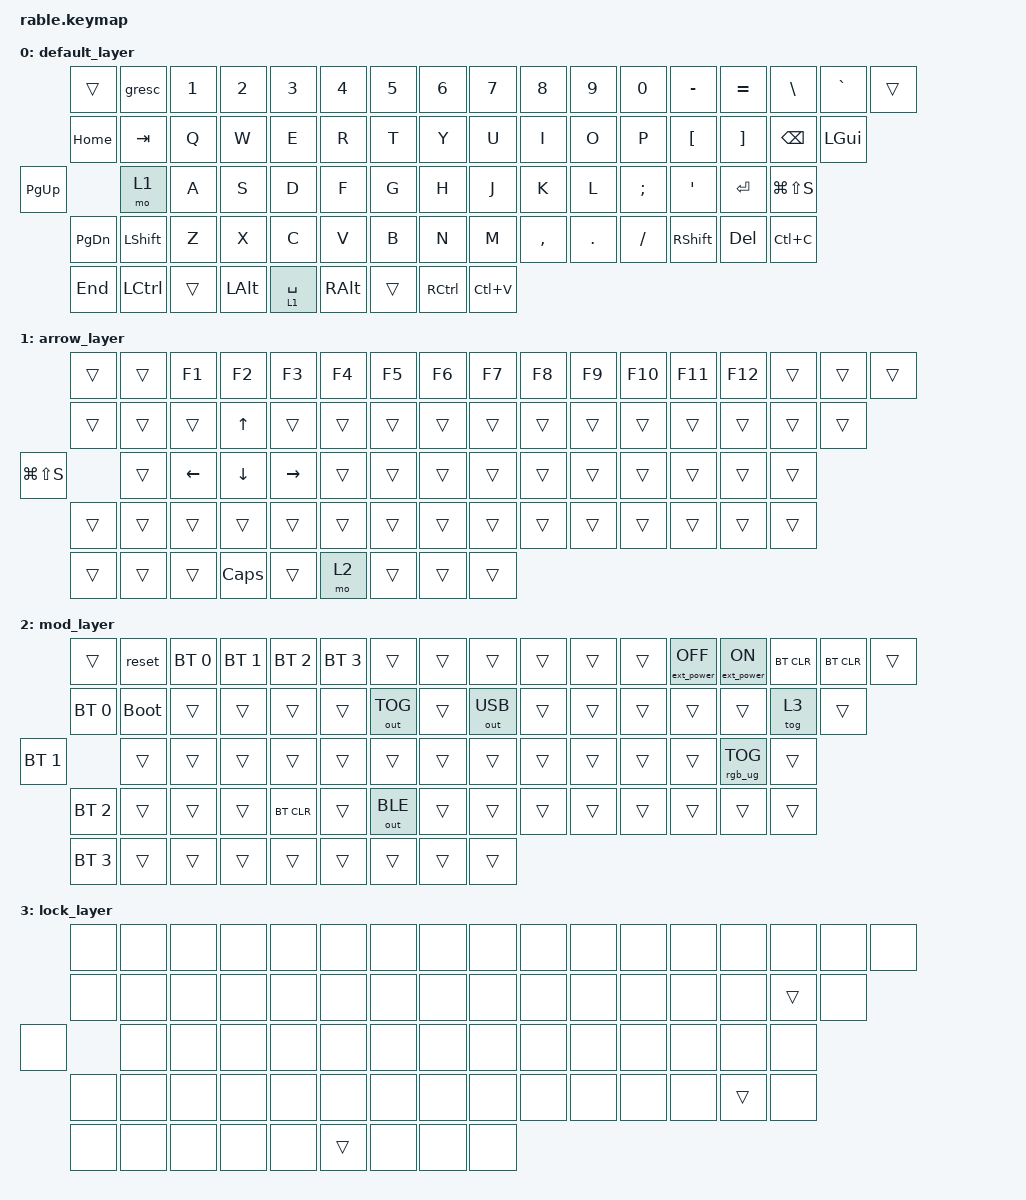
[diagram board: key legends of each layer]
/*
 * Copyright (c) 2021 Nick Winans
 *
 * SPDX-License-Identifier: MIT
 */

#include <behaviors.dtsi>
#include <dt-bindings/zmk/keys.h>
#include <dt-bindings/zmk/bt.h>
#include <dt-bindings/zmk/ext_power.h>
#include <dt-bindings/zmk/outputs.h>
#include <dt-bindings/zmk/rgb.h>

/ {
    keymap {
        compatible = "zmk,keymap";

        default_layer {
            bindings = <
       &trans     &gresc  &kp N1        &kp N2       &kp N3         &kp N4  &kp N5     &kp N6     &kp N7     &kp N8   &kp N9    &kp N0  &kp MINUS   &kp EQUAL  &kp BACKSLASH     &kp GRAVE  &trans
     &kp HOME    &kp TAB   &kp Q         &kp W        &kp E          &kp R   &kp T      &kp Y      &kp U      &kp I    &kp O     &kp P   &kp LBKT    &kp RBKT  &kp BACKSPACE  &kp LEFT_GUI
  &kp PAGE_UP      &mo 1   &kp A         &kp S        &kp D          &kp F   &kp G      &kp H      &kp J      &kp K    &kp L  &kp SEMI    &kp SQT     &kp RET  &kp LG(LS(S))
&kp PAGE_DOWN  &kp LSHFT   &kp Z         &kp X        &kp C          &kp V   &kp B      &kp N      &kp M  &kp COMMA  &kp DOT  &kp FSLH  &kp RSHFT  &kp DELETE      &kp LC(C)
      &kp END  &kp LCTRL  &trans  &kp LEFT_ALT  &lt 1 SPACE  &kp RIGHT_ALT  &trans  &kp RCTRL  &kp LC(V)
            >;
        };

        arrow_layer {
            bindings = <
       &trans  &trans          &kp F1          &kp F2           &kp F3  &kp F4  &kp F5  &kp F6  &kp F7  &kp F8  &kp F9  &kp F10  &kp F11  &kp F12  &trans  &trans  &trans
       &trans  &trans          &trans    &kp UP_ARROW           &trans  &trans  &trans  &trans  &trans  &trans  &trans   &trans   &trans   &trans  &trans  &trans
&kp LG(LS(S))  &trans  &kp LEFT_ARROW  &kp DOWN_ARROW  &kp RIGHT_ARROW  &trans  &trans  &trans  &trans  &trans  &trans   &trans   &trans   &trans  &trans
       &trans  &trans          &trans          &trans           &trans  &trans  &trans  &trans  &trans  &trans  &trans   &trans   &trans   &trans  &trans
       &trans  &trans          &trans    &kp CAPSLOCK           &trans   &mo 2  &trans  &trans  &trans
            >;
        };

        mod_layer {
            bindings = <
      &trans       &reset  &bt BT_SEL 0  &bt BT_SEL 1  &bt BT_SEL 2  &bt BT_SEL 3        &trans  &trans        &trans  &trans  &trans  &trans  &ext_power EP_OFF  &ext_power EP_ON  &bt BT_CLR  &bt BT_CLR  &trans
&bt BT_SEL 0  &bootloader        &trans        &trans        &trans        &trans  &out OUT_TOG  &trans  &out OUT_USB  &trans  &trans  &trans             &trans            &trans      &tog 3      &trans
&bt BT_SEL 1       &trans        &trans        &trans        &trans        &trans        &trans  &trans        &trans  &trans  &trans  &trans             &trans   &rgb_ug RGB_TOG      &trans
&bt BT_SEL 2       &trans        &trans        &trans    &bt BT_CLR        &trans  &out OUT_BLE  &trans        &trans  &trans  &trans  &trans             &trans            &trans      &trans
&bt BT_SEL 3       &trans        &trans        &trans        &trans        &trans        &trans  &trans        &trans
            >;
        };

        lock_layer {
            bindings = <
&none  &none  &none  &none  &none   &none  &none  &none  &none  &none  &none  &none  &none   &none   &none  &none  &none
&none  &none  &none  &none  &none   &none  &none  &none  &none  &none  &none  &none  &none   &none  &trans  &none
&none  &none  &none  &none  &none   &none  &none  &none  &none  &none  &none  &none  &none   &none   &none
&none  &none  &none  &none  &none   &none  &none  &none  &none  &none  &none  &none  &none  &trans   &none
&none  &none  &none  &none  &none  &trans  &none  &none  &none
            >;
        };
    };
};
